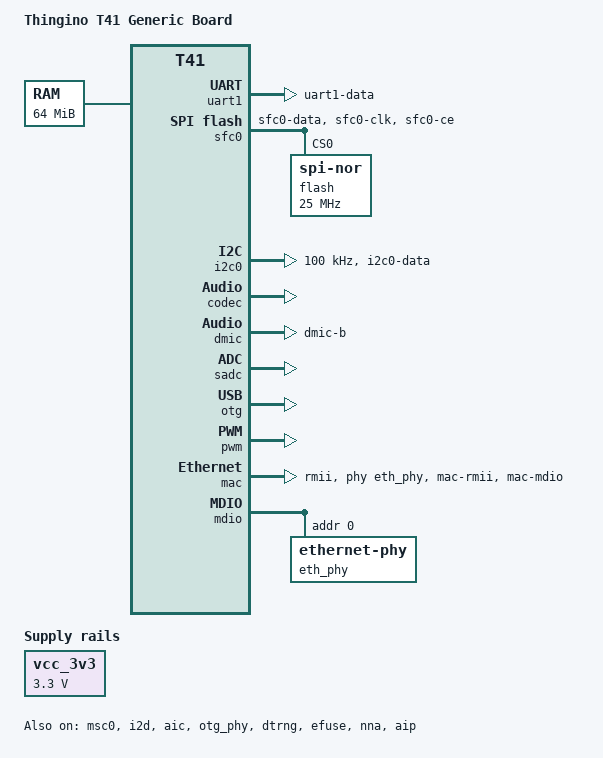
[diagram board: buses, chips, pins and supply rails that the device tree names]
// SPDX-License-Identifier: GPL-2.0
/dts-v1/;

#include "t41.dtsi"

/ {
	compatible = "thingino,t41", "ingenic,t41";
	model = "Thingino T41 Generic Board";

	aliases {
		serial1 = &uart1;
	};

	chosen {
		stdout-path = "serial1:115200n8";
	};

	/* the smallest RAM a T41 comes with; the boot loader's mem= has the real map */
	memory@0 {
		device_type = "memory";
		reg = <0x0 0x4000000>;
	};

	/* the 3.3 V rail of the USB PHY */
	vcc_3v3: regulator-3v3 {
		compatible = "regulator-fixed";
		regulator-name = "vcc-3v3";
		regulator-min-microvolt = <3300000>;
		regulator-max-microvolt = <3300000>;
		regulator-always-on;
	};

	/*
	 * The media memory of the out-of-tree camera stack, where thingino's
	 * U-Boot puts it on this RAM size; its rmem= places and enables it
	 */
	reserved-memory {
		#address-cells = <1>;
		#size-cells = <1>;
		ranges;

		rmem: rmem@2400000 {
			reg = <0x2400000 0x1c00000>;
			no-map;
			status = "disabled";
		};

		/* the NNA's memory, where nmem= puts it */
		nmem: nmem@7000000 {
			reg = <0x7000000 0x1000000>;
			no-map;
			status = "disabled";
		};
	};
};

&exclk {
	clock-frequency = <24000000>;
};

&uart1 {
	status = "okay";

	pinctrl-names = "default";
	pinctrl-0 = <&pins_uart1>;
};

&sfc0 {
	status = "okay";

	pinctrl-names = "default";
	pinctrl-0 = <&pins_sfc0>;

	/* partitions come from the mtdparts= the boot loader passes */
	flash@0 {
		compatible = "jedec,spi-nor";
		reg = <0>;
		spi-max-frequency = <25000000>;
	};
};

&msc0 {
	status = "okay";
	bus-width = <4>;
	max-frequency = <25000000>;
	broken-cd;
	no-1-8-v;

	pinctrl-names = "default";
	pinctrl-0 = <&pins_mmc0>;
};

&i2c0 {
	status = "okay";
	clock-frequency = <100000>;

	pinctrl-names = "default";
	pinctrl-0 = <&pins_i2c0>;
};

&isp {
	/* consumed by the out-of-tree ISP modules, not bound by a driver */
	pinctrl-names = "default";
	pinctrl-0 = <&pins_cim_mclk>;

	memory-region = <&rmem>;
};

&i2d {
	/* /dev/i2d (libimp rotation), bound by the out-of-tree i2d module */
	status = "okay";
};

&aic {
	status = "okay";
};

&codec {
	status = "okay";
};

/* left disabled: a profile with a DMIC enables it, the pins may be GPIOs elsewhere */
&dmic {
	pinctrl-names = "default";
	pinctrl-0 = <&pins_dmic>;
};

&sadc {
	status = "okay";
};

&otg_phy {
	status = "okay";

	vcc-supply = <&vcc_3v3>;
};

&otg {
	status = "okay";
	disable-over-current;
};

&dtrng {
	status = "okay";
};

/* The pins stay in GPIO mode until a board user selects a PWM pin group */
&pwm {
	status = "okay";
};

&efuse {
	status = "okay";
};

&mac {
	status = "okay";

	phy-mode = "rmii";
	phy-handle = <&eth_phy>;

	pinctrl-names = "default";
	pinctrl-0 = <&pins_mac>;
};

&mdio {
	eth_phy: ethernet-phy@0 {
		reg = <0>;
	};
};

&nna {
	status = "okay";
};

&aip {
	status = "okay";
};

&pinctrl {
	pins_uart1: uart1 {
		function = "uart1";
		groups = "uart1-data";
	};

	pins_sfc0: sfc0 {
		function = "sfc0";
		groups = "sfc0-data", "sfc0-clk", "sfc0-ce";
	};

	pins_mmc0: mmc0 {
		function = "mmc0";
		groups = "mmc0-1bit", "mmc0-4bit";
	};

	pins_i2c0: i2c0 {
		function = "i2c0";
		groups = "i2c0-data";
	};

	pins_mac: mac {
		function = "mac";
		groups = "mac-rmii", "mac-mdio";
	};

	pins_dmic: dmic {
		function = "dmic";
		groups = "dmic-b";
	};

	pins_cim_mclk: cim-mclk {
		function = "cim";
		groups = "cim-mclk";
	};
};
